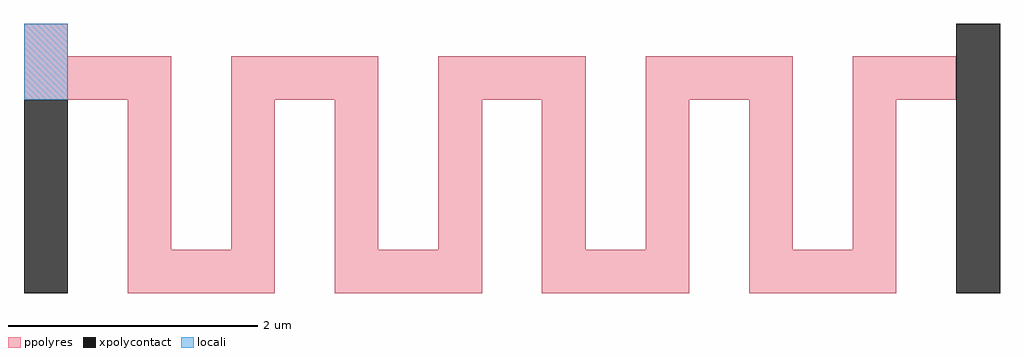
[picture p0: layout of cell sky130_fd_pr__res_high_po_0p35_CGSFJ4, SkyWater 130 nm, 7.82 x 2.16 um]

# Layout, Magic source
magic
tech sky130A
<< xpolycontact >>
rect -391 -108 -356 47
rect 356 -108 391 108
<< ppolyres >>
rect -391 82 -356 108
rect -391 47 -273 82
rect -308 -73 -273 47
rect -225 47 -107 82
rect -225 -73 -190 47
rect -308 -108 -190 -73
rect -142 -73 -107 47
rect -59 47 59 82
rect -59 -73 -24 47
rect -142 -108 -24 -73
rect 24 -73 59 47
rect 107 47 225 82
rect 107 -73 142 47
rect 24 -108 142 -73
rect 190 -73 225 47
rect 273 47 356 82
rect 273 -73 308 47
rect 190 -108 308 -73
<< locali >>
rect -391 47 -356 108
<< properties >>
string gencell sky130_fd_pr__res_high_po_0p35
string library sky130
string parameters w 0.35 l 1.9 m 1 nx 10 wmin 0.350 lmin 0.50 class resistor rho 319.8 val 21.352k dummy 0 dw 0.0 term 194.82 sterm 0.0 caplen 0 guard 0 glc 1 grc 1 gtc 1 gbc 1 compatible {sky130_fd_pr__res_high_po_0p35  sky130_fd_pr__res_high_po_0p69 sky130_fd_pr__res_high_po_1p41  sky130_fd_pr__res_high_po_2p85 sky130_fd_pr__res_high_po_5p73} snake 1 full_metal 1 wmax 0.350 vias 1 n_guard 0 hv_guard 0 viagb 0 viagt 0 viagl 0 viagr 0
<< end >>
